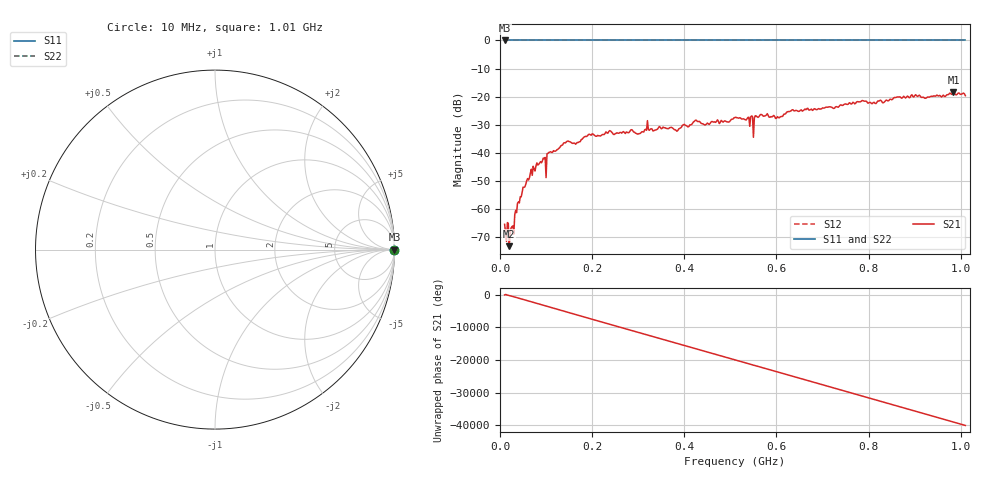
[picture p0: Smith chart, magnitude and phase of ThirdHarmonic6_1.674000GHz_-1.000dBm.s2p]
! 8/16/2025 8:04:56 PM
! C:\ANRITSUVNA\TEMP\TEMP.S2P
! CHANNEL.1
! TR.MEASUREMENT
! RAW.DATA
! RF.CORRECTION.OFF
! AVERAGING.OFF
! IF.BANDWIDTH: 5KHZ
! SWEEPTYPE:  FREQ.SWEEP(Linear)
! Reference Plane Port Info
! PORT:  PORT1  PORT2
! DISTANCE:  0  m  0  m
! TIME:  0  s  0  s
! PHASE.OFFSET:  0  deg.  0  deg.
! LOSS:  0  dB  0  dB
! REF.LOSS:  0  dB  0  dB
! REF.FREQ:  0  Hz  0  Hz
! Power Info
! POWER:  -20  dBm  -20  dBm
! EFF.POWER:  -20  dBm  -20  dBm
! SOURCE.ATTEN:  0  dB  0  dB
! TEST.ATTEN:  0  dB  0  dB
# GHZ S RI R 50.0
! FREQ.GHZ  S11RE  S11IM  S21RE  S21IM  S12RE  S12IM  S22RE  S22IM
!; PortSelection: Port_12
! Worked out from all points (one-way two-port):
!   501 points, 10 MHz to 1.01 GHz, reference 50 ohm
!   highest |S21| = -18.50 dB at 984 MHz (marker M1); lowest = -73.2 dB at 20 MHz (marker M2)
!   lowest |S11| = 0.0 dB at 10 MHz (marker M3)
!   |S11| at or under -10 dB: nowhere
!   |S22| runs from 0.0 to 0.0 dB; largest |S21 - S12| = 1.1
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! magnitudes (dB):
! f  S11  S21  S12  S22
! 10 MHz  0.0  -65.4  0.0  0.0
! 20 MHz  0.0  -73.2  0.0  0.0
! 26 MHz  0.0  -66.2  0.0  0.0
! 36 MHz  0.0  -61.3  0.0  0.0
! 54 MHz  0.0  -52.1  0.0  0.0
! 76 MHz  0.0  -46.4  0.0  0.0
! 142 MHz  0.0  -36.5  0.0  0.0
! 178 MHz  0.0  -35.1  0.0  0.0
! 344 MHz  0.0  -31.0  0.0  0.0
! 382 MHz  0.0  -32.0  0.0  0.0
! 424 MHz  0.0  -28.4  0.0  0.0
! 444 MHz  0.0  -30.0  0.0  0.0
! 510 MHz  0.0  -27.4  0.0  0.0
! 544 MHz  0.0  -27.2  0.0  0.0
! 546 MHz  0.0  -26.9  0.0  0.0
! 566 MHz  0.0  -26.3  0.0  0.0
! 602 MHz  0.0  -27.1  0.0  0.0
! 632 MHz  0.0  -25.0  0.0  0.0
! 678 MHz  0.0  -24.9  0.0  0.0
! 844 MHz  0.0  -21.4  0.0  0.0
! 984 MHz  0.0  -18.5  0.0  0.0
! 1.01 GHz  0.0  -19.7  0.0  0.0
